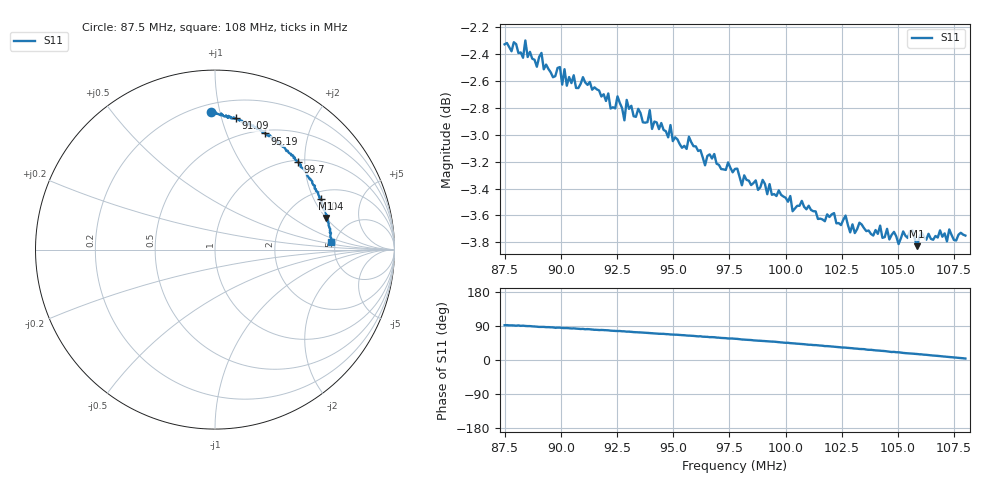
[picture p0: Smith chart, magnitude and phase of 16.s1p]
!Agilent Technologies,N5225A,MY51441201,A.09.90.19
!Agilent N5225A: A.09.90.19
!Date: Wednesday, April 25, 2018 14:35:22
!Correction: S11(Full 1 Port(1))
!S1P File: Measurement: S11:
# Hz S  dB  R 50
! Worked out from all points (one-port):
!   201 points, 87.5 MHz to 108 MHz, reference 50 ohm
!   lowest |S11| = -3.8 dB at 105.8 MHz (marker M1), VSWR 4.61, Z = 167 + j99.8 ohm
!   |S11| at or under -10 dB: nowhere
!   S11 on the Smith chart (normalised r, x): 87.5 MHz: 0.25, +0.94; 91.09 MHz: 0.34, +1.11; 95.19 MHz: 0.54, +1.38; 99.7 MHz: 1.03, +1.86; 104 MHz: 2.32, +2.27; 108 MHz: 4.59, +0.70
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8.75e7  -2.33 91.8
8.80125e7  -2.32 90.6
8.8115e7  -2.39 91.3
8.84225e7  -2.30 89.9
8.8525e7  -2.42 89.5
8.90375e7  -2.42 87.3
8.96525e7  -2.57 86.0
8.9755e7  -2.56 85.0
8.996e7  -2.50 85.3
9.00625e7  -2.63 84.6
9.0165e7  -2.51 84.2
9.10875e7  -2.61 81.1
9.119e7  -2.63 81.5
9.14975e7  -2.65 79.7
9.2625e7  -2.76 76.5
9.283e7  -2.89 75.6
9.29325e7  -2.74 74.8
9.51875e7  -3.03 66.6
9.775e7  -3.25 56.0
9.96975e7  -3.41 46.6
1.003125e8  -3.57 44.1
1.0103e8  -3.53 40.2
1.02875e8  -3.73 31.5
1.040025e8  -3.71 25.4
1.054375e8  -3.77 17.8
1.058475e8  -3.83 15.8
1.068725e8  -3.71 10.1
1.08e8  -3.75 3.9
